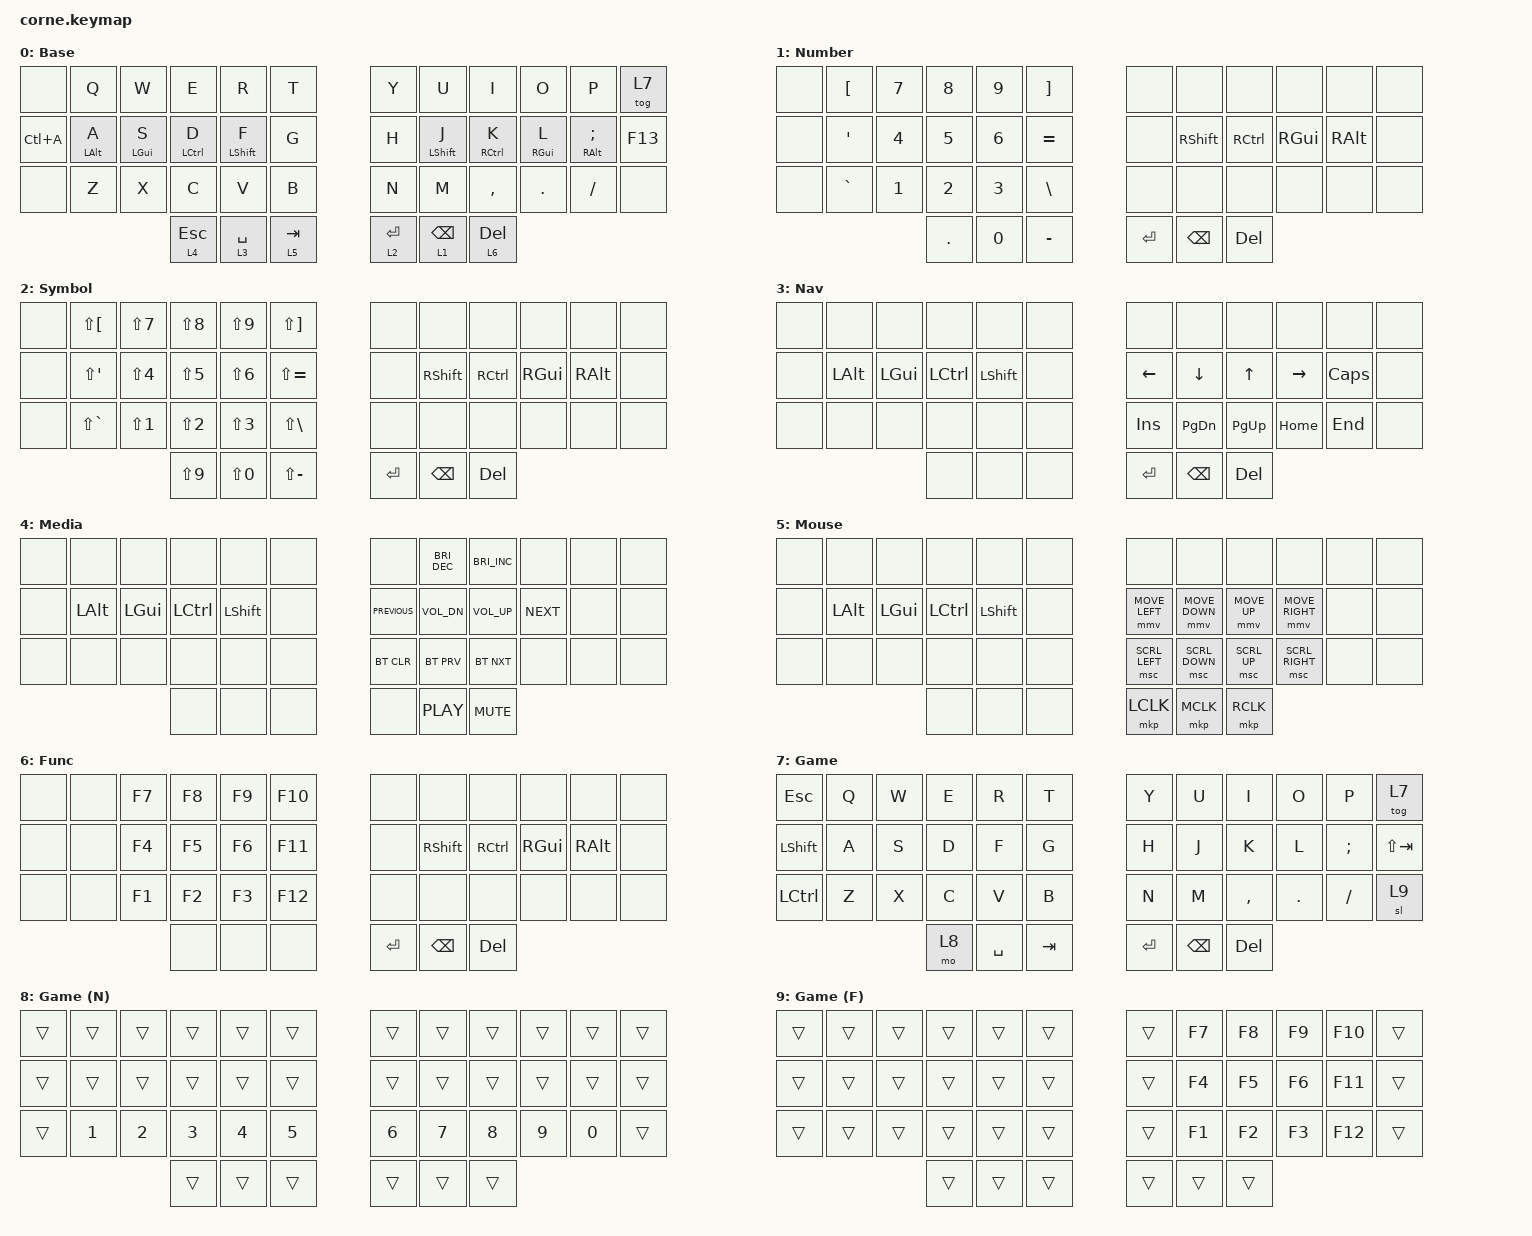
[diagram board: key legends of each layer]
/*
 * Copyright (c) 2020 The ZMK Contributors
 *
 * SPDX-License-Identifier: MIT
 */

#include <behaviors.dtsi>
#include <dt-bindings/zmk/bt.h>
#include <dt-bindings/zmk/keys.h>
#include <dt-bindings/zmk/pointing.h>

&lt {
    tapping-term-ms = <125>;
    flavor = "tap-preferred";
    quick-tap-ms = <175>;
};

/ {
    behaviors {
        hml: home_row_mod_left {
            compatible = "zmk,behavior-hold-tap";
            #binding-cells = <2>;
            flavor = "balanced";
            require-prior-idle-ms = <100>;
            tapping-term-ms = <125>;
            bindings = <&kp>, <&kp>;

            hold-trigger-key-positions = <6 7 8 9 10 11 18 19 20 21 22 23 30 31 32 33 34 35 39 40 41>;
            hold-trigger-on-release;
        };

        hmr: home_row_mod_right {
            compatible = "zmk,behavior-hold-tap";
            #binding-cells = <2>;
            flavor = "balanced";
            require-prior-idle-ms = <100>;
            tapping-term-ms = <125>;
            bindings = <&kp>, <&kp>;

            hold-trigger-key-positions = <0 1 2 3 4 5 12 13 14 15 16 17 24 25 26 27 28 29 36 37 38>;
            hold-trigger-on-release;
        };
    };

    keymap {
        compatible = "zmk,keymap";

        base_layer {
            label = "Base";
            bindings = <
&none      &kp Q        &kp W        &kp E         &kp R          &kp T        &kp Y        &kp U              &kp I         &kp O        &kp P                &tog 7
&kp LC(A)  &hml LALT A  &hml LGUI S  &hml LCTRL D  &hml LSHIFT F  &kp G        &kp H        &hmr LEFT_SHIFT J  &hmr RCTRL K  &hmr RGUI L  &hmr RALT SEMICOLON  &kp F13
&none      &kp Z        &kp X        &kp C         &kp V          &kp B        &kp N        &kp M              &kp COMMA     &kp DOT      &kp FSLH             &none
                                     &lt 4 ESCAPE  &lt 3 SPACE    &lt 5 TAB    &lt 2 ENTER  &lt 1 BACKSPACE    &lt 6 DELETE
            >;
        };

        number_layer {
            label = "Number";
            bindings = <
&none  &kp LEFT_BRACKET  &kp N7  &kp N8   &kp N9  &kp RIGHT_BRACKET    &none      &none          &none       &none     &none     &none
&none  &kp SINGLE_QUOTE  &kp N4  &kp N5   &kp N6  &kp EQUAL            &none      &kp RSHIFT     &kp RCTRL   &kp RGUI  &kp RALT  &none
&none  &kp GRAVE         &kp N1  &kp N2   &kp N3  &kp BACKSLASH        &none      &none          &none       &none     &none     &none
                                 &kp DOT  &kp N0  &kp MINUS            &kp ENTER  &kp BACKSPACE  &kp DELETE
            >;
        };

        symbol_layer {
            label = "Symbol";
            bindings = <
&none  &kp LS(LEFT_BRACKET)  &kp LS(N7)  &kp LS(N8)  &kp LS(N9)  &kp LS(RIGHT_BRACKET)    &none      &none          &none       &none     &none     &none
&none  &kp LS(SINGLE_QUOTE)  &kp LS(N4)  &kp LS(N5)  &kp LS(N6)  &kp LS(EQUAL)            &none      &kp RSHIFT     &kp RCTRL   &kp RGUI  &kp RALT  &none
&none  &kp LS(GRAVE)         &kp LS(N1)  &kp LS(N2)  &kp LS(N3)  &kp LS(BACKSLASH)        &none      &none          &none       &none     &none     &none
                                         &kp LS(N9)  &kp LS(N0)  &kp LS(MINUS)            &kp ENTER  &kp BACKSPACE  &kp DELETE
            >;
        };

        navigation_layer {
            label = "Nav";
            bindings = <
&none  &none     &none     &none      &none      &none    &none       &none          &none       &none      &none     &none
&none  &kp LALT  &kp LGUI  &kp LCTRL  &kp LSHFT  &none    &kp LEFT    &kp DOWN       &kp UP      &kp RIGHT  &kp CAPS  &none
&none  &none     &none     &none      &none      &none    &kp INSERT  &kp PAGE_DOWN  &kp PG_UP   &kp HOME   &kp END   &none
                           &none      &none      &none    &kp ENTER   &kp BACKSPACE  &kp DELETE
            >;
        };

        media_layer {
            label = "Media";
            bindings = <
&none  &none     &none     &none      &none      &none    &none           &kp C_BRIGHTNESS_DEC  &kp C_BRIGHTNESS_INC  &none       &none  &none
&none  &kp LALT  &kp LGUI  &kp LCTRL  &kp LSHFT  &none    &kp C_PREVIOUS  &kp C_VOL_DN          &kp C_VOL_UP          &kp C_NEXT  &none  &none
&none  &none     &none     &none      &none      &none    &bt BT_CLR      &bt BT_PRV            &bt BT_NXT            &none       &none  &none
                           &none      &none      &none    &none           &kp C_PLAY            &kp C_MUTE
            >;
        };

        mouse_layer {
            label = "Mouse";
            bindings = <
&none  &none     &none     &none      &none      &none    &none           &none           &none         &none            &none  &none
&none  &kp LALT  &kp LGUI  &kp LCTRL  &kp LSHFT  &none    &mmv MOVE_LEFT  &mmv MOVE_DOWN  &mmv MOVE_UP  &mmv MOVE_RIGHT  &none  &none
&none  &none     &none     &none      &none      &none    &msc SCRL_LEFT  &msc SCRL_DOWN  &msc SCRL_UP  &msc SCRL_RIGHT  &none  &none
                           &none      &none      &none    &mkp LCLK       &mkp MCLK       &mkp RCLK
            >;
        };

        function_layer {
            label = "Func";
            bindings = <
&none  &none  &kp F7  &kp F8  &kp F9  &kp F10    &none      &none          &none       &none     &none     &none
&none  &none  &kp F4  &kp F5  &kp F6  &kp F11    &none      &kp RSHIFT     &kp RCTRL   &kp RGUI  &kp RALT  &none
&none  &none  &kp F1  &kp F2  &kp F3  &kp F12    &none      &none          &none       &none     &none     &none
                      &none   &none   &none      &kp ENTER  &kp BACKSPACE  &kp DELETE
            >;
        };

        game_base_layer {
            label = "Game";
            bindings = <
&kp ESC    &kp Q  &kp W  &kp E  &kp R      &kp T      &kp Y      &kp U          &kp I       &kp O    &kp P     &tog 7
&kp LSHFT  &kp A  &kp S  &kp D  &kp F      &kp G      &kp H      &kp J          &kp K       &kp L    &kp SEMI  &kp LS(TAB)
&kp LCTRL  &kp Z  &kp X  &kp C  &kp V      &kp B      &kp N      &kp M          &kp COMMA   &kp DOT  &kp FSLH  &sl 9
                         &mo 8  &kp SPACE  &kp TAB    &kp ENTER  &kp BACKSPACE  &kp DELETE
            >;
        };

        game_number_layer {
            label = "Game (N)";
            bindings = <
&trans  &trans  &trans  &trans  &trans  &trans    &trans  &trans  &trans  &trans  &trans  &trans
&trans  &trans  &trans  &trans  &trans  &trans    &trans  &trans  &trans  &trans  &trans  &trans
&trans  &kp N1  &kp N2  &kp N3  &kp N4  &kp N5    &kp N6  &kp N7  &kp N8  &kp N9  &kp N0  &trans
                        &trans  &trans  &trans    &trans  &trans  &trans
            >;
        };

        game_function_layer {
            label = "Game (F)";
            bindings = <
&trans  &trans  &trans  &trans  &trans  &trans    &trans  &kp F7  &kp F8  &kp F9  &kp F10  &trans
&trans  &trans  &trans  &trans  &trans  &trans    &trans  &kp F4  &kp F5  &kp F6  &kp F11  &trans
&trans  &trans  &trans  &trans  &trans  &trans    &trans  &kp F1  &kp F2  &kp F3  &kp F12  &trans
                        &trans  &trans  &trans    &trans  &trans  &trans
            >;
        };
    };
};
